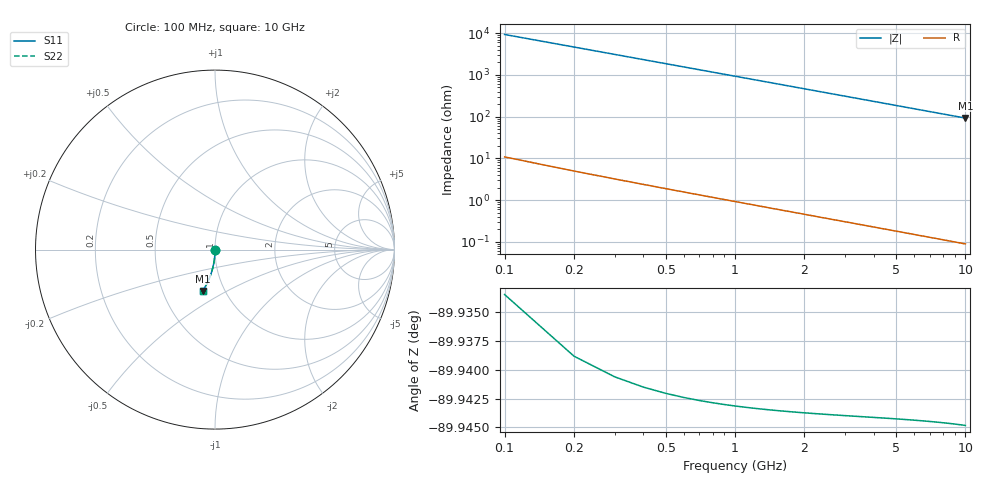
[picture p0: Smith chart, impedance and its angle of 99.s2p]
# Hz S RI R 50.00
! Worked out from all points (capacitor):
!   100 points, 100 MHz to 10 GHz, reference 50 ohm
!   read as one part in shunt: C = 171 fF near 100 MHz
!   lowest |Z| = 92.5 ohm at 10 GHz (marker M1)
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1e8  5.21e-05 -0.00245  0.9999 -0.00291  0.9999 -0.00291  5.21e-05 -0.00245
2e8  2.85e-05 -0.00491  0.9999 -0.00582  0.9999 -0.00582  2.85e-05 -0.00491
3e8  -9.51e-06 -0.00736  0.9999 -0.00873  0.9999 -0.00873  -9.51e-06 -0.00736
4e8  -6.19e-05 -0.00982  0.9998 -0.0116  0.9998 -0.0116  -6.19e-05 -0.00982
5e8  -0.000129 -0.0123  0.9997 -0.0145  0.9997 -0.0145  -0.000129 -0.0123
6e8  -0.00021 -0.0147  0.9997 -0.0175  0.9997 -0.0175  -0.00021 -0.0147
7e8  -0.000305 -0.0172  0.9996 -0.0204  0.9996 -0.0204  -0.000305 -0.0172
8e8  -0.000414 -0.0196  0.9995 -0.0233  0.9995 -0.0233  -0.000414 -0.0196
9e8  -0.000538 -0.0221  0.9993 -0.0262  0.9993 -0.0262  -0.000538 -0.0221
1.1e9  -0.000829 -0.027  0.999 -0.032  0.999 -0.032  -0.000829 -0.027
1.4e9  -0.00137 -0.0343  0.9985 -0.0407  0.9985 -0.0407  -0.00137 -0.0343
1.8e9  -0.0023 -0.0441  0.9975 -0.0523  0.9975 -0.0523  -0.0023 -0.0441
2.1e9  -0.00314 -0.0515  0.9967 -0.061  0.9967 -0.061  -0.00314 -0.0515
2.5e9  -0.00446 -0.0612  0.9953 -0.0726  0.9953 -0.0726  -0.00446 -0.0612
2.9e9  -0.00601 -0.0709  0.9938 -0.0841  0.9938 -0.0841  -0.00601 -0.0709
3.4e9  -0.00827 -0.083  0.9915 -0.0985  0.9915 -0.0985  -0.00827 -0.083
4.2e9  -0.0126 -0.1021  0.9871 -0.1213  0.9871 -0.1213  -0.0126 -0.1021
5.1e9  -0.0185 -0.1234  0.9811 -0.1467  0.9811 -0.1467  -0.0185 -0.1234
5.9e9  -0.0247 -0.1419  0.9748 -0.169  0.9748 -0.169  -0.0247 -0.1419
6.7e9  -0.0317 -0.1601  0.9677 -0.1909  0.9677 -0.1909  -0.0317 -0.1601
8.4e9  -0.0491 -0.1972  0.95 -0.236  0.95 -0.236  -0.0491 -0.1972
1e10  -0.0685 -0.2301  0.9302 -0.2764  0.9302 -0.2764  -0.0685 -0.2301
